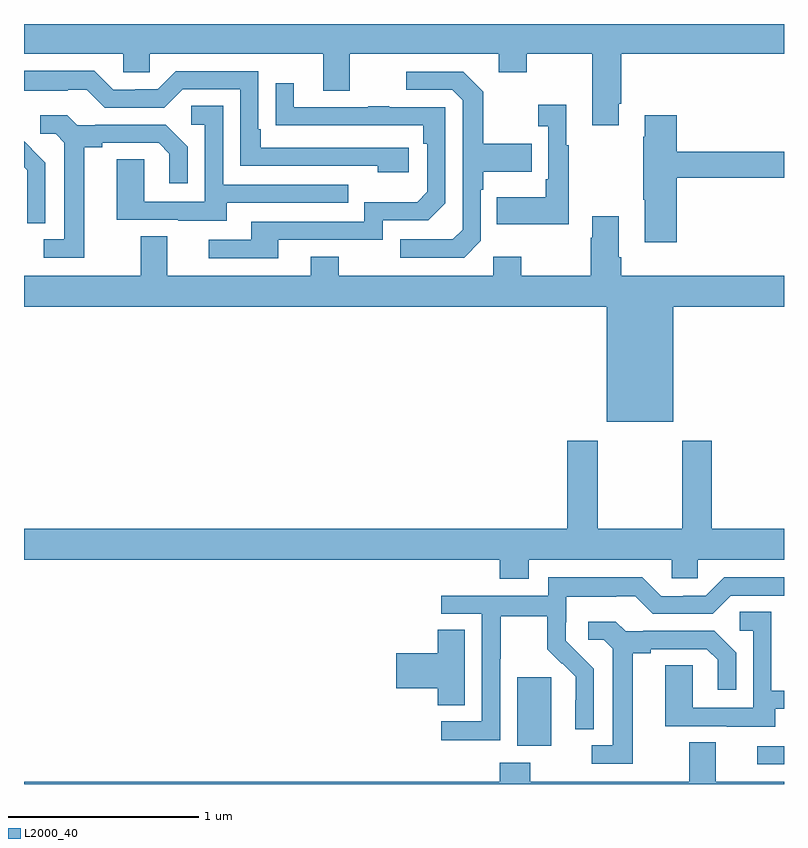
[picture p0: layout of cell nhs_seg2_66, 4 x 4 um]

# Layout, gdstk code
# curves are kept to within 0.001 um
import gdstk
lib = gdstk.Library(unit=1e-6, precision=1e-09)
def R(c, l, rs):  # rectangles x0, y0, x1, y1
    for r in rs: c.add(gdstk.rectangle(r[:2], r[2:], *l))
def P(c, l, *ps):  # polygons
    for p in ps: c.add(gdstk.Polygon(p, *l))
L2000_40 = (2000, 40)

nhs_seg2_66 = lib.new_cell('nhs_seg2_66')
R(nhs_seg2_66, L2000_40, [(116.859,635.904,117,636), (115.595,636.002,115.774,636.363)])
P(nhs_seg2_66, L2000_40, [(116.131,639.379),(116.144,639.379),(116.144,639.644),(117,639.644),(117,639.8),(113,639.8),(113,639.644),(113.523,639.644),(113.523,639.546),(113.661,639.546),(113.661,639.644),(114.575,639.644),(114.575,639.45),(114.715,639.45),(114.715,639.644),(115.499,639.644),(115.499,639.545),(115.647,639.545),(115.647,639.644),(115.991,639.644),(115.991,639.267),(116.131,639.267)],
  [(115.024,639.15),(114.247,639.15),(114.247,639.247),(114.234,639.247),(114.234,639.552),(113.799,639.552),(113.703,639.456),(113.585,639.456),(113.585,639.453),(113.469,639.453),(113.369,639.553),(113,639.553),(113,639.449),(113.231,639.449),(113.231,639.453),(113.331,639.453),(113.424,639.36),(113.739,639.36),(113.835,639.456),(114.138,639.456),(114.138,639.054),(114.863,639.054),(114.863,639.02),(115.024,639.02)],
  [(115.404,638.658),(115.404,638.927),(115.417,638.927),(115.417,639.023),(115.673,639.023),(115.673,639.171),(115.417,639.171),(115.417,639.443),(115.311,639.549),(115.011,639.549),(115.011,639.453),(115.254,639.453),(115.308,639.399),(115.308,638.718),(115.257,638.667),(114.981,638.667),(114.981,638.571),(115.317,638.571)],
  [(114.337,638.664),(114.888,638.664),(114.888,638.766),(115.128,638.766),(115.218,638.856),(115.218,639.363),(114.923,639.363),(114.923,639.368),(114.811,639.368),(114.811,639.363),(114.421,639.363),(114.421,639.487),(114.325,639.487),(114.325,639.268),(115.102,639.267),(115.102,639.17),(115.122,639.17),(115.122,638.916),(115.069,638.863),(114.792,638.863),(114.792,638.76),(114.197,638.76),(114.197,638.664),(113.973,638.664),(113.973,638.568),(114.337,638.568)],
  [(115.867,639.163),(115.855,639.163),(115.855,639.376),(115.707,639.376),(115.707,639.263),(115.758,639.263),(115.758,638.983),(115.746,638.983),(115.746,638.887),(115.489,638.887),(115.489,638.747),(115.867,638.747)],
  [(114.067,638.859),(114.707,638.859),(114.707,638.955),(114.048,638.955),(114.048,639.371),(113.88,639.371),(113.88,639.27),(113.952,639.27),(113.952,638.865),(113.634,638.865),(113.634,639.089),(113.489,639.089),(113.489,638.769),(113.813,638.769),(113.813,638.765),(114.067,638.765)],
  [(116.435,638.992),(117,638.992),(117,639.128),(116.435,639.128),(116.435,639.319),(116.267,639.319),(116.267,639.206),(116.26,639.206),(116.26,638.875),(116.267,638.875),(116.267,638.652),(116.435,638.652)],
  [(113.317,639.152),(113.413,639.152),(113.413,639.174),(113.708,639.174),(113.765,639.117),(113.765,638.961),(113.862,638.961),(113.862,639.154),(113.746,639.27),(113.374,639.27),(113.374,639.267),(113.28,639.267),(113.228,639.319),(113.085,639.319),(113.085,639.222),(113.166,639.222),(113.213,639.175),(113.213,638.667),(113.103,638.667),(113.103,638.571),(113.317,638.571)],
  [(113.112,639.07),(113.039,639.143),(113.04,639.144),(113,639.184),(113,639.047),(113.018,639.029),(113.018,638.906),(113.016,638.906),(113.016,638.752),(113.112,638.752)],
  [(116.416,638.312),(117,638.312),(117,638.476),(116.144,638.476),(116.144,638.572),(116.131,638.572),(116.131,638.788),(115.991,638.788),(115.991,638.675),(115.984,638.675),(115.984,638.476),(115.617,638.476),(115.617,638.575),(115.47,638.575),(115.47,638.476),(114.657,638.476),(114.657,638.575),(114.509,638.575),(114.509,638.476),(113.755,638.476),(113.755,638.684),(113.615,638.684),(113.615,638.476),(113,638.476),(113,638.312),(116.066,638.312),(116.066,637.706),(116.416,637.706)],
  [(115.657,636.98),(116.409,636.98),(116.409,636.882),(116.547,636.882),(116.547,636.98),(117,636.98),(117,637.144),(116.619,637.144),(116.619,637.606),(116.464,637.606),(116.464,637.144),(116.019,637.144),(116.019,637.606),(115.859,637.606),(115.859,637.144),(113,637.144),(113,636.98),(115.505,636.98),(115.505,636.881),(115.657,636.881)],
  [(115.506,636.46),(115.509,636.46),(115.509,636.684),(115.753,636.684),(115.753,636.509),(115.83,636.432),(115.833,636.435),(115.904,636.365),(115.904,636.242),(115.902,636.242),(115.902,636.088),(115.998,636.088),(115.998,636.406),(115.852,636.554),(115.852,636.651),(115.854,636.651),(115.854,636.785),(116.117,636.785),(116.117,636.789),(116.217,636.789),(116.31,636.696),(116.625,636.696),(116.721,636.792),(117,636.792),(117,636.888),(116.685,636.888),(116.589,636.792),(116.471,636.792),(116.471,636.789),(116.355,636.789),(116.255,636.889),(115.758,636.889),(115.758,636.792),(115.197,636.792),(115.197,636.696),(115.41,636.696),(115.41,636.129),(115.197,636.129),(115.197,636.031),(115.506,636.031)],
  [(116.953,636.195),(117,636.195),(117,636.291),(116.934,636.291),(116.934,636.707),(116.766,636.707),(116.766,636.606),(116.838,636.606),(116.838,636.201),(116.52,636.201),(116.52,636.425),(116.375,636.425),(116.375,636.105),(116.699,636.105),(116.699,636.101),(116.953,636.101)],
  [(116.203,636.488),(116.299,636.488),(116.299,636.51),(116.594,636.51),(116.651,636.453),(116.651,636.297),(116.748,636.297),(116.748,636.49),(116.632,636.606),(116.26,636.606),(116.26,636.603),(116.166,636.603),(116.114,636.655),(115.971,636.655),(115.971,636.558),(116.052,636.558),(116.099,636.511),(116.099,636.003),(115.989,636.003),(115.989,635.907),(116.203,635.907)],
  [(115.321,636.611),(115.178,636.611),(115.178,636.488),(114.96,636.488),(114.96,636.305),(115.178,636.305),(115.178,636.214),(115.321,636.214)],
  [(117,635.812),(116.641,635.812),(116.641,636.02),(116.501,636.02),(116.501,635.812),(115.665,635.812),(115.665,635.911),(115.505,635.911),(115.505,635.812),(113,635.812),(113,635.8),(117,635.8)])

lib.write_gds('nhs_seg2_66.gds')
